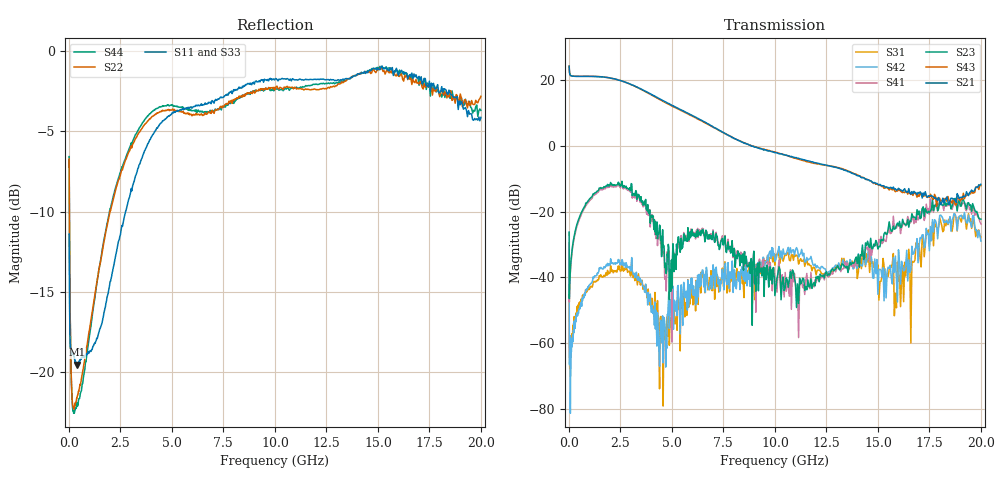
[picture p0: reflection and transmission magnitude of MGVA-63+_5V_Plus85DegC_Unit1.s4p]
!Mini-Circuits Laboratory
!S-Parameters
!Model: MGVA-63+
!Run / Lot / Date Code: NA / AH404P001-04 / 1348
!Fixture: NA; TB-561+
!AUTO PORT EXTENSION DONE: PORT<1>=113.62ps; PORT<2>=112.79ps; PORT<3>=112.29ps; PORT<4>=112.3ps
!Network Analyzer: PNA-X N5242A - 423 4 ports;  Serial number: 71256
!Date: 2/10/20114
!S/N: Unit# 1
!Correction: S11(Full 4 Port(1,2,3,4))
!S12(Full 4 Port(1,2,3,4))
!S13(Full 4 Port(1,2,3,4))
!S14(Full 4 Port(1,2,3,4))
!S21(Full 4 Port(1,2,3,4))
!S22(Full 4 Port(1,2,3,4))
!S23(Full 4 Port(1,2,3,4))
!S24(Full 4 Port(1,2,3,4))
!S31(Full 4 Port(1,2,3,4))
!S32(Full 4 Port(1,2,3,4))
!S33(Full 4 Port(1,2,3,4))
!S34(Full 4 Port(1,2,3,4))
!S41(Full 4 Port(1,2,3,4))
!S42(Full 4 Port(1,2,3,4))
!S43(Full 4 Port(1,2,3,4))
!S44(Full 4 Port(1,2,3,4))
!S4P File: Measurements: <S11,S12,S13,S14>,
!<S21,S22,S23,S24>,
!<S31,S32,S33,S34>,
!<S41,S42,S43,S44>:
# Hz S  dB  R 50
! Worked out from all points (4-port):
!   660 points, 10 MHz to 20 GHz, reference 50 ohm
!   strongest paths, dB at 10 MHz, 2.65 GHz, 6.775 GHz, 11.8 GHz, 20 GHz:
!     S21: 24.3, 19.6, 6.7, -4.8, -11.7
!     S43: 24.3, 19.6, 6.4, -5.1, -12.0
!     S23: -26.2, -12.6, -28.3, -43.4, -22.3
!     S41: -29.7, -13.0, -27.2, -42.8, -23.7
!     S42: -36.1, -36.5, -43.5, -35.0, -28.9
!     S31: -41.4, -38.1, -42.0, -38.0, -27.7
!   lowest |S11| = -19.5 dB at 380 MHz (marker M1), VSWR 1.24, Z = 40.8 + j2.57 ohm
!   |S11| at or under -10 dB: start of sweep to 2.751 GHz
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1e7  -11.40 -48.5  -28.34 27.1  -36.07 158.0  -48.61 142.6
     24.28 169.3  -6.73 -28.9  -26.24 167.0  -39.00 151.1
     -41.43 157.7  -47.15 147.4  -11.24 -48.3  -28.06 26.0
     -29.72 155.4  -36.08 150.0  24.26 168.8  -6.58 -29.6
8e7  -18.60 -147.1  -24.45 5.0  -62.24 96.6  -76.92 -11.7
     21.45 170.9  -18.22 -58.5  -36.58 72.5  -63.61 77.1
     -64.42 114.6  -76.88 -113.4  -18.62 -147.1  -24.47 5.1
     -37.47 74.9  -70.37 91.3  21.46 171.0  -18.31 -57.9
3.8e8  -19.52 162.8  -24.38 -1.5  -49.36 79.6  -70.54 97.0
       21.18 163.5  -21.61 -70.7  -24.11 62.1  -50.71 88.6
       -50.45 78.0  -68.31 -0.1  -19.63 165.9  -24.33 -1.5
       -24.66 63.1  -51.72 87.9  21.20 163.6  -22.05 -69.3
1.9e9  -15.10 133.4  -23.32 -19.6  -37.85 43.7  -58.69 104.7
       20.79 100.4  -10.60 164.4  -12.09 -40.7  -35.44 48.3
       -38.38 49.5  -58.35 109.8  -14.83 134.5  -23.39 -19.9
       -12.61 -37.9  -36.36 51.5  20.80 100.2  -10.47 162.5
3.4e9  -7.11 102.9  -23.68 -48.3  -41.09 -8.3  -56.16 77.6
       17.59 35.6  -5.07 99.0  -14.88 -148.1  -39.65 -26.1
       -40.23 -5.9  -55.81 90.0  -6.99 100.4  -23.88 -49.3
       -15.10 -147.0  -40.98 -15.3  17.55 34.6  -4.83 98.7
5.925e9  -3.53 75.5  -27.00 -76.9  -42.72 -46.4  -51.53 28.0
         9.47 -40.8  -3.97 67.8  -25.96 -113.5  -42.37 -44.7
         -41.47 -41.3  -50.60 29.1  -3.59 72.4  -27.42 -76.3
         -25.31 -109.4  -40.30 -42.2  9.27 -40.2  -3.71 72.1
2e10  -4.14 23.4  -42.33 79.0  -27.02 127.1  -21.58 -15.0
      -11.65 153.9  -2.82 46.6  -22.27 -12.0  -31.75 136.4
      -27.70 119.9  -20.26 -17.9  -3.97 33.9  -28.82 87.4
      -23.71 -13.0  -28.93 140.5  -12.02 157.7  -3.70 54.2
